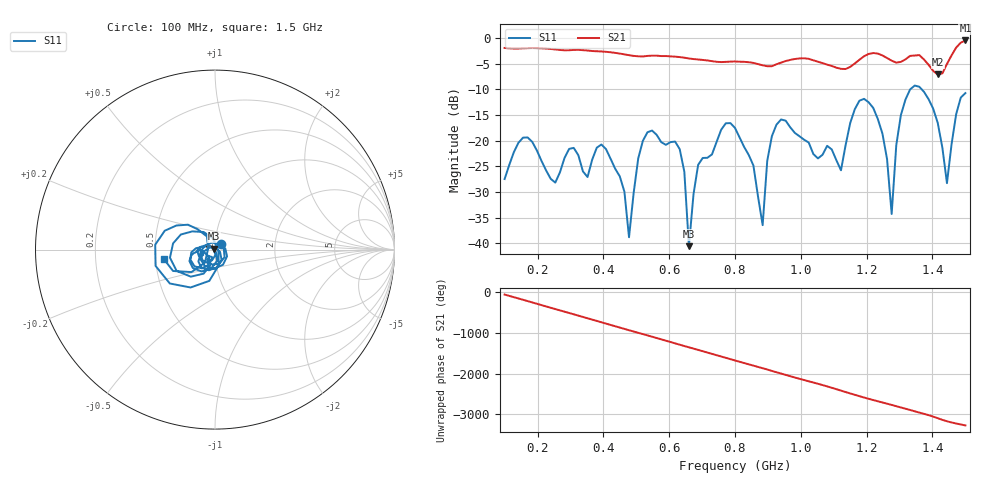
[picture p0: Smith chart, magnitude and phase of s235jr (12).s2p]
! NanoVNA-App
! Date: 2025-09-25 15:04:15
! Start: 100MHz Stop: 1,5GHz Points: 101
! S-Parameter data: F S11 S21 S12 S22
# Hz S RI R 50
!  Frequency  S11_Real  S11_Imag  S21_Real  S21_Imag  S12_Real  S12_Imag  S22_Real  S22_Imag
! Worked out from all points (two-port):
!   101 points, 100 MHz to 1.5 GHz, reference 50 ohm
!   highest |S21| = -0.50 dB at 1.5 GHz (marker M1); lowest = -7.1 dB at 1.416 GHz (marker M2)
!   |S21| within 3 dB of the highest: start of sweep to 491.4 MHz; 1.194 GHz to 1.25 GHz (55.86 MHz wide, 4.57 % of centre) (the widest 2 of 5)
!   lowest |S11| = -40.6 dB at 660 MHz (marker M3), VSWR 1.02, Z = 49.3 + j0.566 ohm
!   |S11| at or under -10 dB: start of sweep to 1.333 GHz; 1.367 GHz to end of sweep
!   S12 and S22 are empty: the file has one direction only
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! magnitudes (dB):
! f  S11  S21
! 100 MHz  -27.5  -2.0
! 156 MHz  -19.4  -2.0
! 338 MHz  -26.0  -2.4
! 408 MHz  -21.6  -2.7
! 478 MHz  -38.8  -3.4
! 520 MHz  -20.1  -3.6
! 576 MHz  -20.3  -3.5
! 632 MHz  -21.7  -3.7
! 660 MHz  -40.6  -4.0
! 688 MHz  -24.7  -4.2
! 800 MHz  -17.5  -4.6
! 884 MHz  -36.5  -5.3
! 926 MHz  -16.9  -5.1
! 1.038 GHz  -22.6  -4.4
! 1.122 GHz  -25.8  -6.0
! 1.206 GHz  -12.5  -3.1
! 1.276 GHz  -34.3  -4.4
! 1.29 GHz  -20.9  -4.8
! 1.332 GHz  -10.0  -3.5
! 1.416 GHz  -16.6  -7.1
! 1.444 GHz  -28.3  -5.1
! 1.5 GHz  -10.8  -0.5
